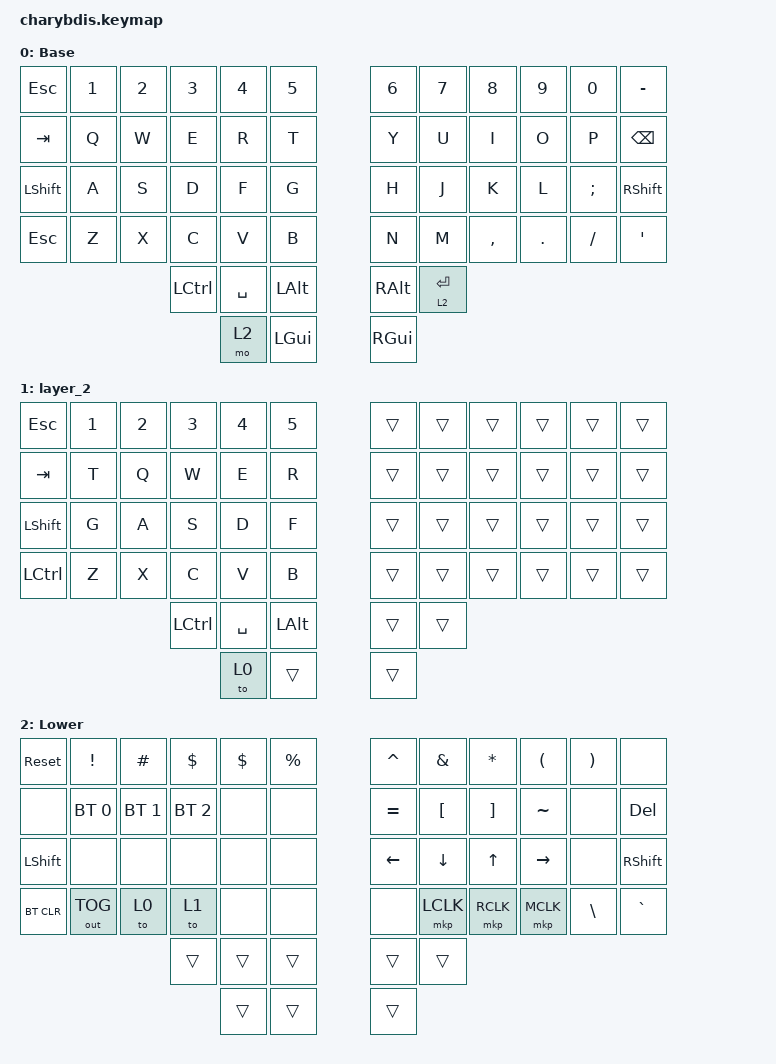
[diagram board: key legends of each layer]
#include <dt-bindings/zmk/mouse.h>
#include <behaviors.dtsi>
#include <dt-bindings/zmk/bt.h>
#include <dt-bindings/zmk/keys.h>
#include <dt-bindings/zmk/outputs.h>
#include <dt-bindings/zmk/pointing.h>

&lt {
    tapping-term-ms = <200>;
    flavor = "balanced";
    quick-tap-ms = <150>;
};

/ {
    combos { compatible = "zmk,combos"; };

    keymap {
        compatible = "zmk,keymap";

        Base {
            bindings = <
&kp ESC         &kp N1  &kp N2  &kp N3            &kp N4     &kp N5          &kp N6         &kp N7       &kp N8     &kp N9   &kp N0     &kp MINUS
&kp TAB         &kp Q   &kp W   &kp E             &kp R      &kp T           &kp Y          &kp U        &kp I      &kp O    &kp P      &kp BACKSPACE
&kp LEFT_SHIFT  &kp A   &kp S   &kp D             &kp F      &kp G           &kp H          &kp J        &kp K      &kp L    &kp SEMI   &kp RIGHT_SHIFT
&kp ESCAPE      &kp Z   &kp X   &kp C             &kp V      &kp B           &kp N          &kp M        &kp COMMA  &kp DOT  &kp SLASH  &kp APOS
                                &kp LEFT_CONTROL  &kp SPACE  &kp LEFT_ALT    &kp RIGHT_ALT  &lt 2 ENTER
                                                  &mo 2      &kp LGUI        &kp RGUI
            >;
        };

        layer_2 {
            bindings = <
&kp ESC           &kp N1  &kp N2  &kp N3            &kp N4     &kp N5          &trans  &trans  &trans  &trans  &trans  &trans
&kp TAB           &kp T   &kp Q   &kp W             &kp E      &kp R           &trans  &trans  &trans  &trans  &trans  &trans
&kp LSHFT         &kp G   &kp A   &kp S             &kp D      &kp F           &trans  &trans  &trans  &trans  &trans  &trans
&kp LEFT_CONTROL  &kp Z   &kp X   &kp C             &kp V      &kp B           &trans  &trans  &trans  &trans  &trans  &trans
                                  &kp LEFT_CONTROL  &kp SPACE  &kp LEFT_ALT    &trans  &trans
                                                    &to 0      &trans          &trans
            >;
        };

        Lower {
            bindings = <
&sys_reset      &kp EXCLAMATION  &kp HASH      &kp DOLLAR    &kp DOLLAR  &kp PERCENT    &kp CARET  &kp AMPERSAND     &kp ASTERISK       &kp LEFT_PARENTHESIS  &kp RIGHT_PARENTHESIS  &none
&none           &bt BT_SEL 0     &bt BT_SEL 1  &bt BT_SEL 2  &none       &none          &kp EQUAL  &kp LEFT_BRACKET  &kp RIGHT_BRACKET  &kp TILDE             &none                  &kp DEL
&kp LEFT_SHIFT  &none            &none         &none         &none       &none          &kp LEFT   &kp DOWN          &kp UP             &kp RIGHT             &none                  &kp RIGHT_SHIFT
&bt BT_CLR      &out OUT_TOG     &to 0         &to 1         &none       &none          &none      &mkp LCLK         &mkp RCLK          &mkp MCLK             &kp BACKSLASH          &kp GRAVE
                                               &trans        &trans      &trans         &trans     &trans
                                                             &trans      &trans         &trans
            >;
        };
    };
};
